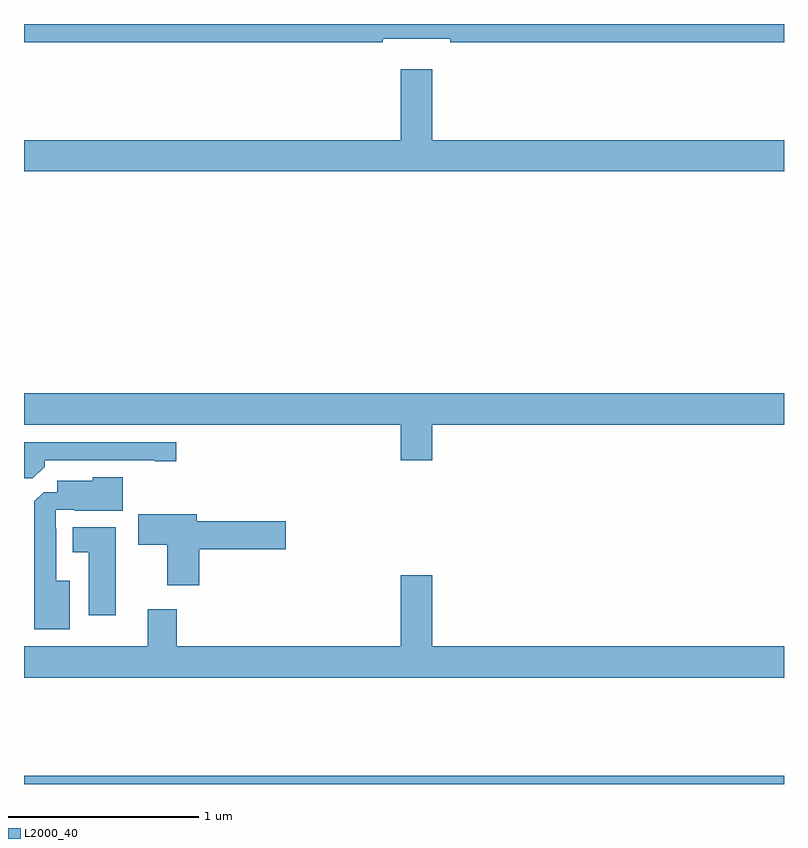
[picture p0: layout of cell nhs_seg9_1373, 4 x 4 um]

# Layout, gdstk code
import gdstk
lib = gdstk.Library(unit=1e-6, precision=1e-09)
def R(c, l, rs):  # rectangles x0, y0, x1, y1
    for r in rs: c.add(gdstk.rectangle(r[:2], r[2:], *l))
def P(c, l, *ps):  # polygons
    for p in ps: c.add(gdstk.Polygon(p, *l))
L2000_40 = (2000, 40)

nhs_seg9_1373 = lib.new_cell('nhs_seg9_1373')
R(nhs_seg9_1373, L2000_40, [(187,1222.5,191,1222.544)])
P(nhs_seg9_1373, L2000_40, [(188.888,1226.423),(189.244,1226.423),(189.244,1226.404),(191,1226.404),(191,1226.5),(187,1226.5),(187,1226.404),(188.888,1226.404)],
  [(191,1225.888),(189.148,1225.888),(189.148,1226.263),(188.984,1226.263),(188.984,1225.888),(187,1225.888),(187,1225.724),(191,1225.724)],
  [(189.148,1224.392),(191,1224.392),(191,1224.556),(187,1224.556),(187,1224.392),(188.984,1224.392),(188.984,1224.204),(189.148,1224.204)],
  [(187.109,1224.17),(187.109,1224.204),(187.688,1224.204),(187.688,1224.199),(187.801,1224.199),(187.801,1224.3),(187,1224.3),(187,1224.108),(187.047,1224.108)],
  [(187.24,1223.569),(187.171,1223.569),(187.171,1223.843),(187.167,1223.843),(187.167,1223.943),(187.267,1223.943),(187.267,1223.939),(187.519,1223.939),(187.519,1224.115),(187.362,1224.115),(187.362,1224.097),(187.175,1224.097),(187.175,1224.036),(187.104,1224.036),(187.055,1223.987),(187.055,1223.315),(187.24,1223.315)],
  [(187.922,1223.735),(188.377,1223.735),(188.377,1223.882),(187.909,1223.882),(187.909,1223.92),(187.602,1223.92),(187.602,1223.758),(187.754,1223.758),(187.754,1223.547),(187.922,1223.547)],
  [(187.483,1223.851),(187.256,1223.851),(187.256,1223.72),(187.34,1223.72),(187.34,1223.388),(187.483,1223.388)],
  [(191,1223.224),(189.148,1223.224),(189.148,1223.599),(188.984,1223.599),(188.984,1223.224),(187.805,1223.224),(187.805,1223.419),(187.652,1223.419),(187.652,1223.224),(187,1223.224),(187,1223.06),(191,1223.06)])

lib.write_gds('nhs_seg9_1373.gds')
